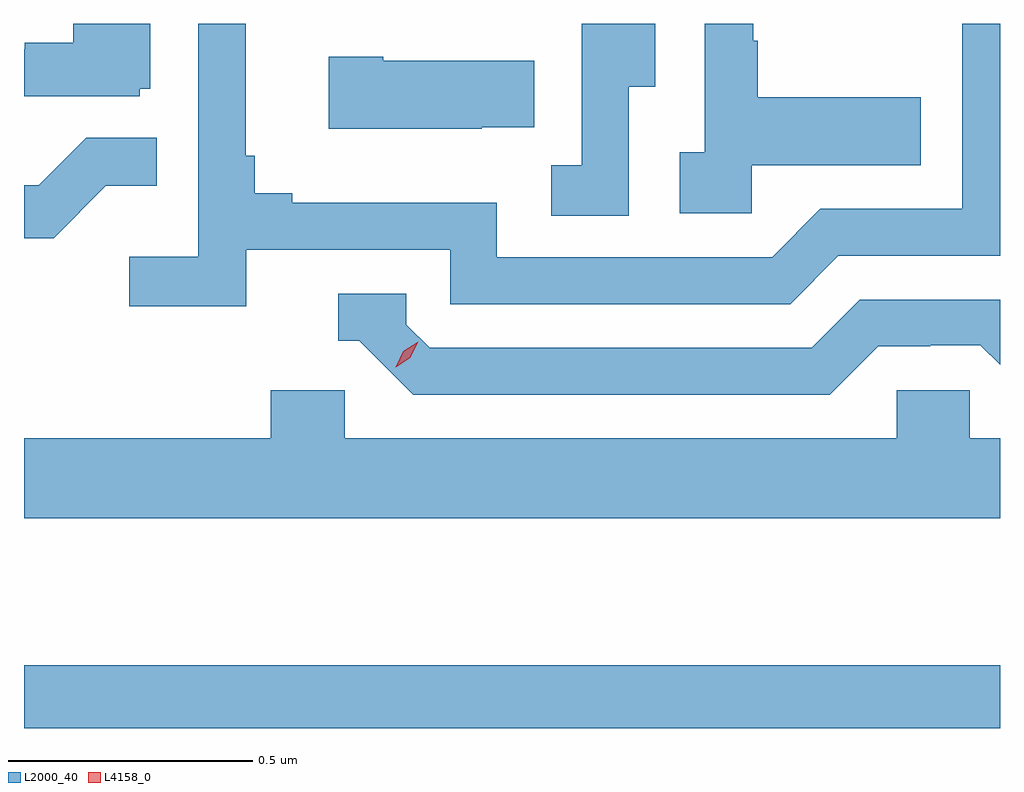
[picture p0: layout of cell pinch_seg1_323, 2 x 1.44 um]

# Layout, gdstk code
import gdstk
lib = gdstk.Library(unit=1e-6, precision=1e-09)
def R(c, l, rs):  # rectangles x0, y0, x1, y1
    for r in rs: c.add(gdstk.rectangle(r[:2], r[2:], *l))
def P(c, l, *ps):  # polygons
    for p in ps: c.add(gdstk.Polygon(p, *l))
L2000_40 = (2000, 40)
L4158_0 = (4158, 0)

pinch_seg1_323 = lib.new_cell('pinch_seg1_323')
R(pinch_seg1_323, L2000_40, [(1009.065,556.63,1011.065,556.759)])
P(pinch_seg1_323, L2000_40, [(1009.52,557.61),(1009.938,557.61),(1009.938,557.499),(1010.635,557.499),(1010.734,557.598),(1011.065,557.598),(1011.065,558.073),(1010.988,558.073),(1010.988,557.694),(1010.697,557.694),(1010.598,557.595),(1010.034,557.595),(1010.034,557.707),(1009.615,557.707),(1009.615,557.726),(1009.538,557.726),(1009.538,557.803),(1009.519,557.803),(1009.519,558.073),(1009.422,558.073),(1009.422,557.596),(1009.281,557.596),(1009.281,557.494),(1009.52,557.494)],
  [(1010.556,557.783),(1010.903,557.783),(1010.903,557.923),(1010.569,557.923),(1010.569,558.038),(1010.559,558.038),(1010.559,558.073),(1010.46,558.073),(1010.46,557.81),(1010.409,557.81),(1010.409,557.685),(1010.556,557.685)],
  [(1010.304,557.944),(1010.359,557.944),(1010.359,558.073),(1010.208,558.073),(1010.208,557.783),(1010.145,557.783),(1010.145,557.68),(1010.304,557.68)],
  [(1009.302,557.94),(1009.324,557.94),(1009.324,558.073),(1009.166,558.073),(1009.166,558.034),(1009.067,558.034),(1009.067,558.021),(1009.065,558.021),(1009.065,557.925),(1009.302,557.925)],
  [(1010.003,557.861),(1010.111,557.861),(1010.111,557.998),(1009.801,557.998),(1009.801,558.006),(1009.689,558.006),(1009.689,557.858),(1010.003,557.858)],
  [(1009.233,557.741),(1009.337,557.741),(1009.337,557.84),(1009.193,557.84),(1009.095,557.742),(1009.065,557.742),(1009.065,557.634),(1009.126,557.634)],
  [(1010.815,557.412),(1010.922,557.412),(1010.922,557.415),(1011.025,557.415),(1011.065,557.375),(1011.065,557.508),(1010.778,557.508),(1010.679,557.409),(1009.896,557.409),(1009.848,557.457),(1009.848,557.52),(1009.709,557.52),(1009.709,557.424),(1009.752,557.424),(1009.863,557.313),(1010.716,557.313)],
  [(1011.065,557.224),(1011.003,557.224),(1011.003,557.322),(1010.853,557.322),(1010.853,557.224),(1009.722,557.224),(1009.722,557.322),(1009.571,557.322),(1009.571,557.224),(1009.065,557.224),(1009.065,557.06),(1011.065,557.06)])
P(pinch_seg1_323, L4158_0, [(1009.827,557.369),(1009.827,557.369),(1009.842,557.402),(1009.873,557.422),(1009.873,557.422),(1009.873,557.422),(1009.857,557.389),(1009.827,557.369)])

lib.write_gds('pinch_seg1_323.gds')
